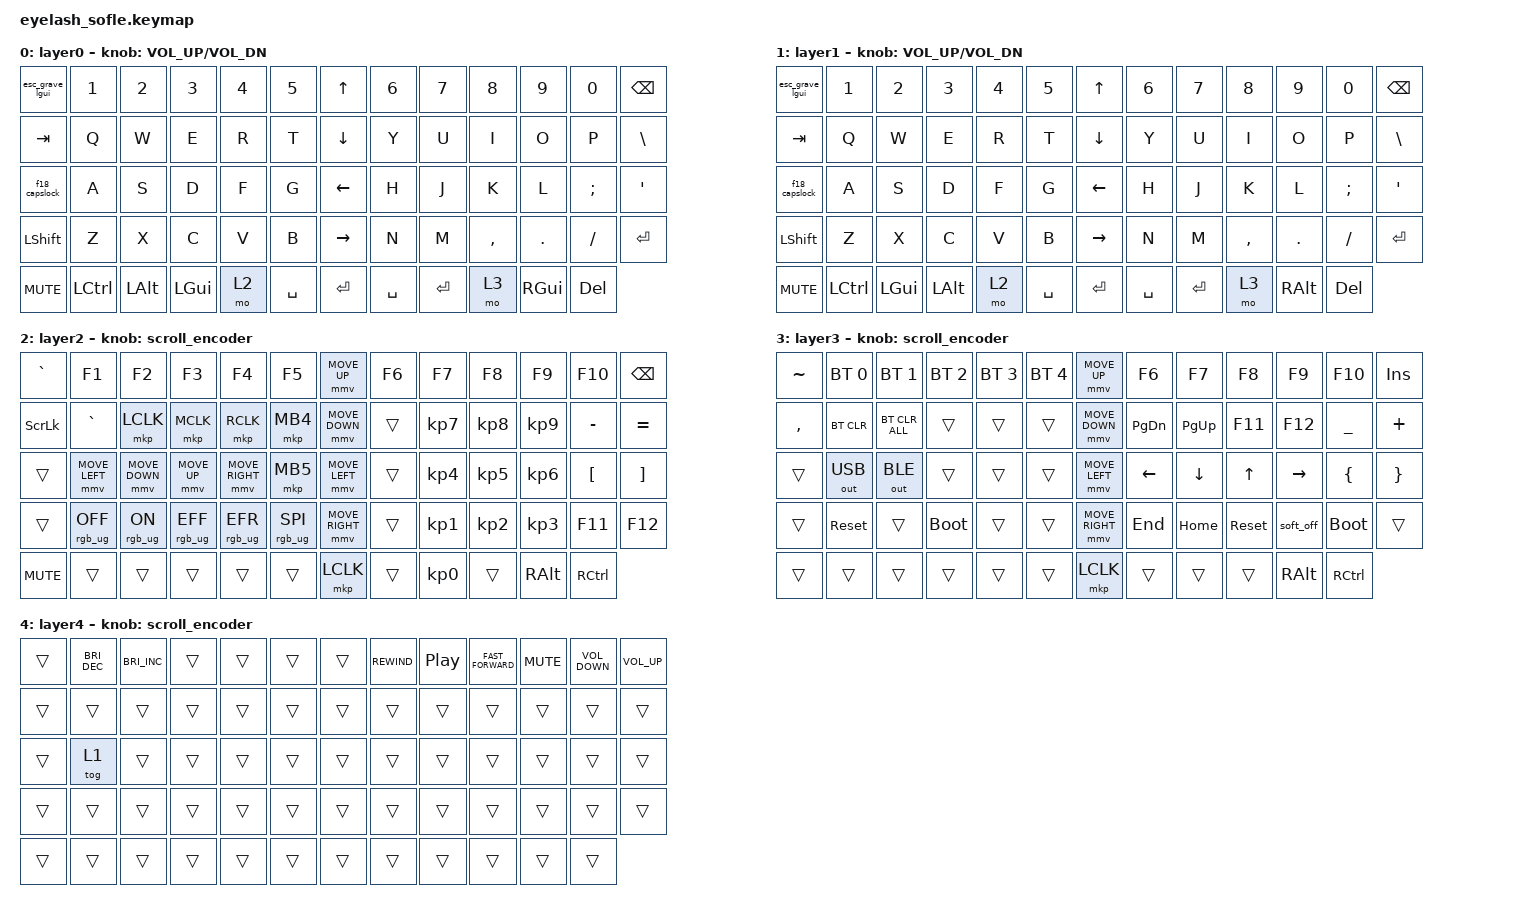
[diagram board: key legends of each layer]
#define ZMK_POINTING_DEFAULT_MOVE_VAL 1200  // 600
#define ZMK_POINTING_DEFAULT_SCRL_VAL 25   // 10

#include <input/processors.dtsi>
#include <zephyr/dt-bindings/input/input-event-codes.h>
#include <behaviors.dtsi>
#include <dt-bindings/zmk/bt.h>
#include <dt-bindings/zmk/keys.h>
#include <dt-bindings/zmk/outputs.h>
#include <dt-bindings/zmk/pointing.h>
#include <dt-bindings/zmk/rgb.h>

&mmv_input_listener { input-processors = <&zip_xy_scaler 2 1>; };

&msc_input_listener { input-processors = <&zip_scroll_scaler 2 1>; };

&msc {
    acceleration-exponent = <1>;      // 0
    time-to-max-speed-ms = <100>;       // 300
    delay-ms = <0>;                   // 0
};

&mmv {
    time-to-max-speed-ms = <500>;
    acceleration-exponent = <1>;
    trigger-period-ms = <16>;
};

&soft_off { hold-time-ms = <2000>; };

/ {
    scroll_encoder: scroll_encoder {
        compatible = "zmk,behavior-sensor-rotate";
        #sensor-binding-cells = <0>;
        bindings = <&msc SCRL_DOWN>, <&msc SCRL_UP>;

        tap-ms = <100>;
    };

    f18_capslock: f18_capslock {
        compatible = "zmk,behavior-tap-dance";
        label = "F18_CAPSLOCK";
        #binding-cells = <0>;
        tapping-term-ms = <150>;
        bindings = <&kp F18>, <&kp CAPSLOCK>;
    };

    esc_grave_lgui: esc_grave_lgui {
        compatible = "zmk,behavior-mod-morph";
        label = "ESC_GRAVE_LGUI";
        bindings = <&kp ESC>, <&kp GRAVE>;

        #binding-cells = <0>;
        mods = <(MOD_LGUI)>;
        keep-mods = <(MOD_LGUI)>;
    };

    new_behavior: new_behavior {
        compatible = "zmk,behavior-mod-morph";
        label = "NEW_BEHAVIOR";
        bindings = <&kp ESC>, <&kp LG(GRAVE)>;

        #binding-cells = <0>;
        mods = <(MOD_LGUI)>;
    };

    behaviors {
    };

    combos {
        compatible = "zmk,combos";

        softoff {
            bindings = <&soft_off>;
            key-positions = <14 28 40>;
        };
    };

    macros {
        SHIFT_MCLK: SHIFT_MCLK {
            compatible = "zmk,behavior-macro";
            #binding-cells = <0>;
            bindings =
                <&macro_press>,
                <&kp LEFT_SHIFT>,
                <&macro_press>,
                <&mkp MB3>,
                <&macro_pause_for_release>,
                <&macro_release>,
                <&kp LEFT_SHIFT &mkp MB3>;

            label = "SHIFT_MCLK";
        };
    };

    keymap {
        compatible = "zmk,keymap";

        macOS {
            bindings = <
&esc_grave_lgui  &kp N1     &kp N2        &kp N3        &kp N4  &kp N5       &kp UP_ARROW     &kp N6     &kp N7     &kp N8     &kp N9    &kp N0      &kp BACKSPACE
&kp TAB          &kp Q      &kp W         &kp E         &kp R   &kp T        &kp DOWN_ARROW   &kp Y      &kp U      &kp I      &kp O     &kp P       &kp BSLH
&f18_capslock    &kp A      &kp S         &kp D         &kp F   &kp G        &kp LEFT_ARROW   &kp H      &kp J      &kp K      &kp L     &kp SEMI    &kp APOS
&kp LSHFT        &kp Z      &kp X         &kp C         &kp V   &kp B        &kp RIGHT_ARROW  &kp N      &kp M      &kp COMMA  &kp DOT   &kp FSLH    &kp ENTER
&kp C_MUTE       &kp LCTRL  &kp LEFT_ALT  &kp LEFT_GUI  &mo 2   &kp SPACE    &kp ENTER        &kp SPACE  &kp ENTER  &mo 3      &kp RGUI  &kp DELETE
            >;

            sensor-bindings = <&inc_dec_kp C_VOLUME_UP C_VOL_DN>;
            display-name = "layer0";
        };

        Windows {
            display-name = "layer1";
            bindings = <
&esc_grave_lgui  &kp N1     &kp N2        &kp N3        &kp N4  &kp N5       &kp UP_ARROW     &kp N6     &kp N7     &kp N8     &kp N9         &kp N0      &kp BACKSPACE
&kp TAB          &kp Q      &kp W         &kp E         &kp R   &kp T        &kp DOWN_ARROW   &kp Y      &kp U      &kp I      &kp O          &kp P       &kp BSLH
&f18_capslock    &kp A      &kp S         &kp D         &kp F   &kp G        &kp LEFT_ARROW   &kp H      &kp J      &kp K      &kp L          &kp SEMI    &kp APOS
&kp LSHFT        &kp Z      &kp X         &kp C         &kp V   &kp B        &kp RIGHT_ARROW  &kp N      &kp M      &kp COMMA  &kp DOT        &kp FSLH    &kp ENTER
&kp C_MUTE       &kp LCTRL  &kp LEFT_GUI  &kp LEFT_ALT  &mo 2   &kp SPACE    &kp ENTER        &kp SPACE  &kp ENTER  &mo 3      &kp RIGHT_ALT  &kp DELETE
            >;

            sensor-bindings = <&inc_dec_kp C_VOLUME_UP C_VOL_DN>;
        };

        layer_2 {
            bindings = <
&kp GRAVE       &kp F1           &kp F2          &kp F3           &kp F4           &kp F5             &mmv MOVE_UP     &kp F6  &kp F7           &kp F8           &kp F9           &kp F10            &kp BACKSPACE
&kp SCROLLLOCK  &kp GRAVE        &mkp LCLK       &mkp MCLK        &mkp RCLK        &mkp MB4           &mmv MOVE_DOWN   &trans  &kp KP_NUMBER_7  &kp KP_NUMBER_8  &kp KP_NUMBER_9  &kp MINUS          &kp EQUAL
&trans          &mmv MOVE_LEFT   &mmv MOVE_DOWN  &mmv MOVE_UP     &mmv MOVE_RIGHT  &mkp MB5           &mmv MOVE_LEFT   &trans  &kp KP_NUMBER_4  &kp KP_NUMBER_5  &kp KP_NUMBER_6  &kp LEFT_BRACKET   &kp RIGHT_BRACKET
&trans          &rgb_ug RGB_OFF  &rgb_ug RGB_ON  &rgb_ug RGB_EFF  &rgb_ug RGB_EFR  &rgb_ug RGB_SPI    &mmv MOVE_RIGHT  &trans  &kp KP_NUMBER_1  &kp KP_NUMBER_2  &kp KP_NUMBER_3  &kp F11            &kp F12
&kp C_MUTE      &trans           &trans          &trans           &trans           &trans             &mkp LCLK        &trans  &kp KP_NUMBER_0  &trans           &kp RALT         &kp RIGHT_CONTROL
            >;

            display-name = "layer2";
            sensor-bindings = <&scroll_encoder>;
        };

        layer_3 {
            bindings = <
&kp TILDE  &bt BT_SEL 0  &bt BT_SEL 1    &bt BT_SEL 2  &bt BT_SEL 3  &bt BT_SEL 4    &mmv MOVE_UP     &kp F6         &kp F7     &kp F8      &kp F9     &kp F10            &kp INSERT
&kp COMMA  &bt BT_CLR    &bt BT_CLR_ALL  &trans        &trans        &trans          &mmv MOVE_DOWN   &kp PAGE_DOWN  &kp PG_UP  &kp F11     &kp F12    &kp UNDER          &kp PLUS
&trans     &out OUT_USB  &out OUT_BLE    &trans        &trans        &trans          &mmv MOVE_LEFT   &kp LEFT       &kp DOWN   &kp UP      &kp RIGHT  &kp LBRC           &kp RBRC
&trans     &sys_reset    &trans          &bootloader   &trans        &trans          &mmv MOVE_RIGHT  &kp END        &kp HOME   &sys_reset  &soft_off  &bootloader        &trans
&trans     &trans        &trans          &trans        &trans        &trans          &mkp LCLK        &trans         &trans     &trans      &kp RALT   &kp RIGHT_CONTROL
            >;

            display-name = "layer3";
            sensor-bindings = <&scroll_encoder>;
        };

        layer_4 {
            bindings = <
&trans  &kp C_BRI_DEC  &kp C_BRI_INC  &trans  &trans  &trans    &trans  &kp C_REWIND  &kp C_PLAY_PAUSE  &kp C_FAST_FORWARD  &kp C_MUTE  &kp C_VOLUME_DOWN  &kp C_VOL_UP
&trans  &trans         &trans         &trans  &trans  &trans    &trans  &trans        &trans            &trans              &trans      &trans             &trans
&trans  &tog 1         &trans         &trans  &trans  &trans    &trans  &trans        &trans            &trans              &trans      &trans             &trans
&trans  &trans         &trans         &trans  &trans  &trans    &trans  &trans        &trans            &trans              &trans      &trans             &trans
&trans  &trans         &trans         &trans  &trans  &trans    &trans  &trans        &trans            &trans              &trans      &trans
            >;

            display-name = "layer4";
            sensor-bindings = <&scroll_encoder>;
        };
    };

    conditional_layers {
        compatible = "zmk,conditional-layers";

        layer3 {
            if-layers = <2 3>;
            then-layer = <4>;
        };
    };
};
